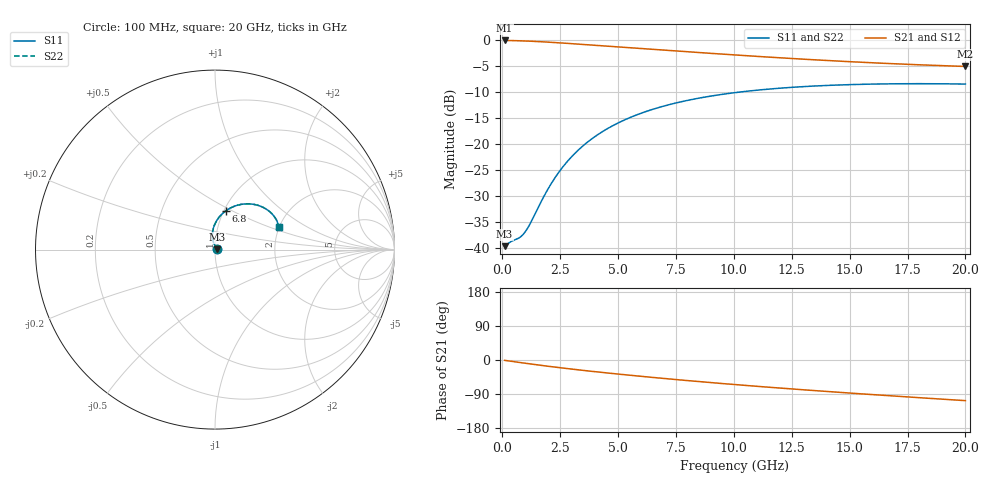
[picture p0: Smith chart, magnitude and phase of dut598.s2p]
! Touchstone file exported from HFSS 2024.1.0
!  File:  C:/UserFiles/LocalFiles/RDL_TSV_Batchsim/temp_RDL_TSV_598_1779761465.aedt
!  Generated:  10:23:39 AM May 26, 2026
!  Design:  RDL_TSV
!  Project:  temp_RDL_TSV_598_1779761465
!  Setup:  Setup1
!  Solution:  Sweep
! Variables:
!  dtsv = 5.53um
!  hbump = 3um
!  htsv = 54.87um
!  ldown = 279.72um
!  lrdl = 155.72um
!  p = 40
!  p1 = 44.81um
!  rhole = 10um
!  subl = 1462.04um
!  t = 450um
!  tdown = 3.11um
!  trdl = 2.16um
!  viad = 10um
!  wdown = 23.96um
!  wrdl = 23.13um
!  xbump = 18um
# GHz S MA R 50.000000
! Terminal data exported
! Port[1] = TM1_1_T1
! Port[2] = TM1_4_T1
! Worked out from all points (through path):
!   200 points, 100 MHz to 20 GHz, reference 50 ohm
!   highest |S21| = -0.09 dB at 100 MHz (marker M1); lowest = -5.1 dB at 20 GHz (marker M2)
!   group delay of S21, straight-line fit = 14.3 ps
!   lowest |S11| = -39.6 dB at 100 MHz (marker M3), VSWR 1.02, Z = 51 + j0.158 ohm
!   |S11| at or under -10 dB: start of sweep to 10.27 GHz
!   |S22| runs from -39.6 to -8.4 dB; largest |S21 - S12| = 1.1e-14
!   S11 on the Smith chart (normalised r, x): 100 MHz: 1.02, +0.00; 6.8 GHz: 1.02, +0.47; 20 GHz: 1.99, +0.59
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0.1  0.01042 8.5  0.9895 -0.9  0.9895 -0.9  0.01042 8.5
! Gamma 0 0 0 0
! Port Impedance 50 0 50 0
0.4  0.01161 27.5  0.9869 -3.5  0.9869 -3.5  0.01161 27.5
0.8  0.01286 52.3  0.9814 -7.0  0.9814 -7.0  0.01286 52.3
1  0.0144 66.3  0.9778 -8.6  0.9778 -8.6  0.0144 66.2
1.2  0.01709 78.6  0.9737 -10.3  0.9737 -10.3  0.01708 78.6
1.9  0.03456 99.9  0.9559 -15.9  0.9559 -15.9  0.03455 99.9
2.3  0.0483 102.5  0.944 -18.9  0.944 -18.9  0.04828 102.5
2.6  0.05966 102.5  0.9346 -21.2  0.9346 -21.2  0.05964 102.5
2.9  0.07164 101.6  0.925 -23.3  0.925 -23.3  0.07162 101.6
3.2  0.08402 100.1  0.9153 -25.4  0.9153 -25.4  0.084 100.1
3.5  0.09663 98.2  0.9056 -27.5  0.9056 -27.5  0.09661 98.2
4.2  0.1263 93.2  0.883 -32.1  0.883 -32.1  0.1262 93.2
4.9  0.1552 87.8  0.8609 -36.5  0.8609 -36.5  0.1552 87.8
5.8  0.1904 81.1  0.8334 -41.9  0.8334 -41.9  0.1904 81.1
6.8  0.2258 74.1  0.804 -47.7  0.804 -47.7  0.2258 74.1
8.3  0.2709 64.5  0.7623 -55.9  0.7623 -55.9  0.2709 64.5
10.1  0.3128 54.6  0.7166 -65.1  0.7166 -65.1  0.3129 54.6
11.7  0.3401 47.0  0.6802 -72.7  0.6802 -72.7  0.3401 47.0
13.4  0.3602 39.9  0.6462 -80.4  0.6462 -80.4  0.3602 39.9
15  0.3722 34.0  0.6186 -87.2  0.6186 -87.2  0.3723 34.0
16.7  0.3787 28.5  0.5936 -94.2  0.5936 -94.2  0.3788 28.5
20  0.3768 19.6  0.5567 -107.3  0.5567 -107.3  0.3769 19.6
